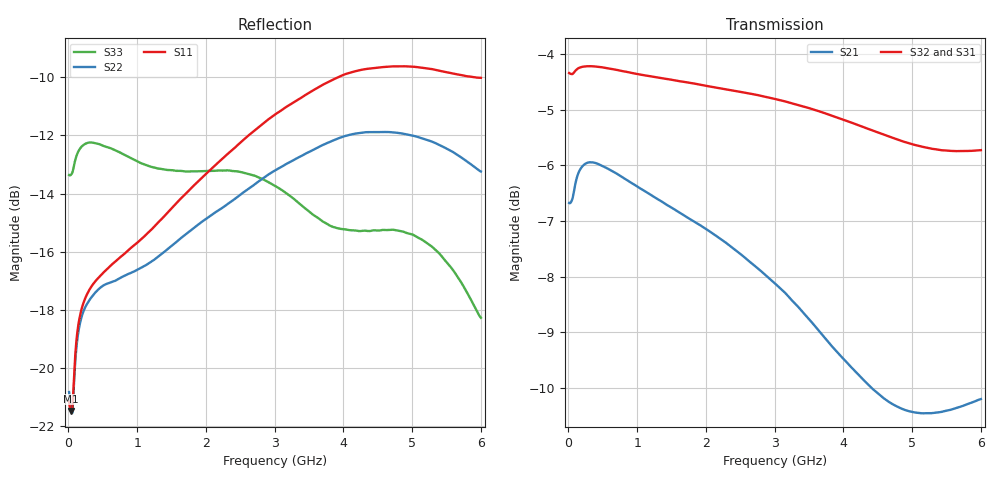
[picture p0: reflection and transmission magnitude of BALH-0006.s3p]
! MARKI MICROWAVE INC.
! Email:  info@markimicrowave.com  Phone:  408-778-4200
! Model Number:  BALH-0006  Date:  06/13
! Filename:		BALH-0006.S3P  Version: 1.0
! Description:  3-port S-parameter data for Balun BALH-0006
! Frequency Range: 	10 MHz to 6 GHz
! Port Configuration:	PORT 1: OUTPUT (0 DEGREE), PORT 2: OUTPUT(180 DEGREE), PORT 3: COMMON
! S3P File: Measurements: Mag<S11> Ang<S11> Mag<S12> Ang<S12> Mag<S13> Ang<S13>! row 1
!  Mag<S21> Ang<S21> Mag<S22> Ang<S22> Mag<S23> Ang<S23>! row 2
!  Mag<S31> Ang<S31> Mag<S32> Ang<S32> Mag<S33> Ang<S33>! row 3
# Hz S  dB  R 50
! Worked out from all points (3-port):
!   801 points, 10 MHz to 6 GHz, reference 50 ohm
!   strongest paths, dB at 10 MHz, 1.508 GHz, 3.005 GHz, 4.503 GHz, 6 GHz:
!     S32: -4.3, -4.5, -4.8, -5.4, -5.7
!     S31: -4.4, -4.4, -4.8, -5.5, -5.9
!     S21: -6.7, -6.8, -8.1, -10.1, -10.2
!   lowest |S11| = -21.5 dB at 39.95 MHz (marker M1), VSWR 1.18, Z = 57.9 + j4.54 ohm
!   |S11| at or under -10 dB: start of sweep to 3.921 GHz; 5.915 GHz to end of sweep
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1e7  -21.17 35.3  -6.68 3.6  -4.39 -1.4
     -6.68 3.4  -20.84 34.0  -4.35 178.7
     -4.39 -0.2  -4.34 -179.9  -13.36 5.3
3.995e7  -21.49 27.5  -6.66 1.4  -4.38 -3.0
         -6.66 1.3  -21.46 26.1  -4.36 176.8
         -4.38 -2.8  -4.36 177.1  -13.35 0.6
8.710625e8  -15.95 -93.2  -6.28 -57.3  -4.26 -87.6
            -6.28 -57.4  -16.77 -92.5  -4.33 92.4
            -4.26 -87.6  -4.33 92.4  -12.73 -133.5
1.732125e9  -13.95 -169.5  -6.94 -111.6  -4.49 -173.1
            -6.94 -111.6  -15.36 -172.1  -4.51 6.7
            -4.49 -173.1  -4.51 6.7  -13.24 90.7
2.43595e9  -12.39 138.1  -7.53 -155.0  -4.67 117.3
           -7.53 -155.0  -14.16 131.4  -4.67 -63.0
           -4.67 117.2  -4.67 -63.0  -13.23 -16.5
3.005e9  -11.28 98.4  -8.13 170.6  -4.84 61.0
         -8.12 170.6  -13.21 87.6  -4.81 -119.3
         -4.84 61.0  -4.81 -119.3  -13.74 -101.6
3.701338e9  -10.25 51.2  -9.05 129.9  -5.14 -7.5
            -9.06 129.8  -12.33 35.3  -5.06 172.1
            -5.14 -7.6  -5.05 172.0  -14.97 147.8
4.495012e9  -9.66 -0.1  -10.08 87.5  -5.53 -84.9
            -10.09 87.5  -11.88 -22.5  -5.41 94.7
            -5.54 -84.9  -5.41 94.7  -15.28 18.1
5.288688e9  -9.72 -47.6  -10.44 48.3  -5.84 -161.0
            -10.45 48.3  -12.21 -77.2  -5.71 18.9
            -5.85 -161.1  -5.70 18.9  -15.83 -93.5
6e9  -10.02 -83.1  -10.19 11.3  -5.89 131.5
     -10.20 11.3  -13.24 -120.0  -5.73 -47.5
     -5.89 131.5  -5.73 -47.6  -18.28 177.1
